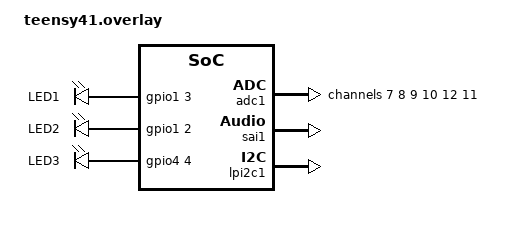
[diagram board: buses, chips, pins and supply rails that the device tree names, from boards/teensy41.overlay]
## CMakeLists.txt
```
# SPDX-License-Identifier: Apache-2.0

cmake_minimum_required(VERSION 3.20.0)

# Enable console on USB
if(NOT cdc-acm-console IN_LIST SNIPPET)
  set(SNIPPET cdc-acm-console ${SNIPPET} CACHE STRING "" FORCE)
endif()

set(BOARD teensy41)

find_package(Zephyr REQUIRED HINTS $ENV{ZEPHYR_BASE})
project(eurorack-dsp)

target_sources(app PRIVATE
  src/main.c
  src/analog_in.c
  src/audio.c
  src/biquad.c
  src/dsp.c
  src/leds.c
)
```

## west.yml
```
# Setup file for West, Zephyr RTOS's management tool.
# We usa a "T2" topology, i.e. this repo is the manifest repo pulling in Zephyr
manifest:
  remotes:
    - name: zephyrproject-rtos
      url-base: https://github.com/zephyrproject-rtos
  projects:
    - name: zephyr
      remote: zephyrproject-rtos
      revision: v4.3.0
      import: true
  self:
    path: eurorack-dsp
```

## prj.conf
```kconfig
CONFIG_LOG=y
CONFIG_LOG_DEFAULT_LEVEL=3
CONFIG_LOG_PROCESS_THREAD_STARTUP_DELAY_MS=3000
CONFIG_LOG_PROCESS_THREAD_SLEEP_MS=10
CONFIG_LOG_BUFFER_SIZE=8192
CONFIG_CBPRINTF_FP_SUPPORT=y

CONFIG_GPIO=y
CONFIG_USB_DEVICE_INITIALIZE_AT_BOOT=y
CONFIG_USBD_LOG_LEVEL_OFF=y

CONFIG_ADC=y

CONFIG_I2S=y
CONFIG_AUDIO=y
CONFIG_AUDIO_DMIC=y
CONFIG_AUDIO_CODEC=y

CONFIG_DMA_TCD_QUEUE_SIZE=4

CONFIG_I2C=y
```

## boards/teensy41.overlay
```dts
/ {
    aliases {
		i2s-codec-tx = &sai1;
		i2s-codec-rx = &sai1;
		i2c-codec = &lpi2c1;
		led1 = &led1;
		led2 = &led2;
		led3 = &led3;
		adc0 = &adc1;
	};

	leds {
		compatible = "gpio-leds";

		led1: led1 {
			gpios = <&gpio1 3 GPIO_ACTIVE_HIGH>; // teensy 0 GPIO_AD_B0_03
			label = "LED1";
		};
		led2: led2 {
			gpios = <&gpio1 2 GPIO_ACTIVE_HIGH>; // teensy 1 GPIO_AD_B0_02
			label = "LED2";
		};
		led3: led3 {
			gpios = <&gpio4 4 GPIO_ACTIVE_HIGH>; // teensy 2 GPIO_EMC_05
			label = "LED3";
		};
	};
};

// nxp_rt1060

// Found in mimxrt1060_evk-pinctrl.dtsi
&pinctrl {
	pinmux_adc1: pinmux_adc1 {
		group0 {
			/* ADC1 IN7 on Teensy pin 14 "A0" = AD_B1_02 */
			/* ADC1 IN8 on Teensy pin 15 "A1" = AD_B1_03 */
			/* ADC1 IN12 on Teensy pin 16 "A2" = AD_B1_07 */
			/* ADC1 IN11 on Teensy pin 17 "A3" = AD_B1_06 */
			/* ADC1 IN9 on Teensy pin 40 "A16" = AD_B1_04 */
			/* ADC1 IN10 on Teensy pin 41 "A17" = AD_B1_05 */
			pinmux = <&iomuxc_gpio_ad_b1_02_adc1_in7>,
				<&iomuxc_gpio_ad_b1_03_adc1_in8>,
				<&iomuxc_gpio_ad_b1_07_adc1_in12>,
				<&iomuxc_gpio_ad_b1_06_adc1_in11>,
				<&iomuxc_gpio_ad_b1_04_adc1_in9>,
				<&iomuxc_gpio_ad_b1_05_adc1_in10>;
			bias-disable;
			drive-strength = "r0-6";
			slew-rate = "slow";
			nxp,speed = "100-mhz";
		};
	};

	pinmux_sai1: pinmux_sai1 {
		group0 {
			pinmux = <&iomuxc_gpio_ad_b1_09_sai1_mclk>,  // teensy 23
				 <&iomuxc_gpio_b1_01_sai1_tx_data0>, // teensy 7
				 <&iomuxc_gpio_b1_00_sai1_rx_data0>, // teensy 8
				 <&iomuxc_gpio_ad_b1_11_sai1_rx_bclk>, // teensy 21
				 <&iomuxc_gpio_ad_b1_10_sai1_rx_sync>; // teensy 20 (LRCLK)
			drive-strength = "r0-6";
			slew-rate = "slow";
			nxp,speed = "100-mhz";
		};
	};
};

&adc1 {
	status = "okay";
	pinctrl-0 = <&pinmux_adc1>;
	pinctrl-names = "default";
	#address-cells = <1>;
	#size-cells = <0>;

	channel@7 {
		reg = <7>;
		zephyr,gain = "ADC_GAIN_1";
		zephyr,reference = "ADC_REF_INTERNAL";
		zephyr,acquisition-time = <ADC_ACQ_TIME_DEFAULT>;
		zephyr,resolution = <12>;
	};

	channel@8 {
		reg = <8>;
		zephyr,gain = "ADC_GAIN_1";
		zephyr,reference = "ADC_REF_INTERNAL";
		zephyr,acquisition-time = <ADC_ACQ_TIME_DEFAULT>;
		zephyr,resolution = <12>;
	};

	channel@9 {
		reg = <9>;
		zephyr,gain = "ADC_GAIN_1";
		zephyr,reference = "ADC_REF_INTERNAL";
		zephyr,acquisition-time = <ADC_ACQ_TIME_DEFAULT>;
		zephyr,resolution = <12>;
	};

	channel@10 {
		reg = <10>;
		zephyr,gain = "ADC_GAIN_1";
		zephyr,reference = "ADC_REF_INTERNAL";
		zephyr,acquisition-time = <ADC_ACQ_TIME_DEFAULT>;
		zephyr,resolution = <12>;
	};

	channel@12 {
		reg = <12>;
		zephyr,gain = "ADC_GAIN_1";
		zephyr,reference = "ADC_REF_INTERNAL";
		zephyr,acquisition-time = <ADC_ACQ_TIME_DEFAULT>;
		zephyr,resolution = <12>;
	};

	channel@11 {
		reg = <11>;
		zephyr,gain = "ADC_GAIN_1";
		zephyr,reference = "ADC_REF_INTERNAL";
		zephyr,acquisition-time = <ADC_ACQ_TIME_DEFAULT>;
		zephyr,resolution = <12>;
	};
};

// Found in mimxrt1060_evk-pinctrl.dtsi
&sai1 {
	status = "okay";
	pinctrl-0 = <&pinmux_sai1>;
	pinctrl-names = "default";

	mclk-output;
	// We use receiver pins for outputting BCLK and LRCLK so the transmitter
	// must be configured to sync to the receiver.
	nxp,tx-sync-mode;
};

&lpi2c1 {
	status = "okay";
	//pinctrl-0 = <&pinmux_lpi2c1>;
	//pinctrl-names = "default";
};
```

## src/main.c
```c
#include <stdio.h>
#include <zephyr/kernel.h>
#include <zephyr/logging/log.h>
LOG_MODULE_REGISTER(main);

#include "analog_in.h"
#include "audio.h"
#include "dsp.h"
#include "leds.h"

#define CHECK(x) if (!(x)) { printf("FAILED AT LINE %s:%d\n", __FILE__, __LINE__); return 1; }

static const int thread_prio_audio = 0;
static const int thread_prio_analog_in = 1;

static struct k_thread audio_thread;
static K_THREAD_STACK_DEFINE(audio_stack, 8192);
static struct k_thread analog_in_thread;
static K_THREAD_STACK_DEFINE(analog_in_stack, 8192);

static void audio_thread_entry(void *dsp_fn, void*, void*) { audio_run(dsp_fn); }
static void analog_in_thread_entry(void*, void*, void*) { analog_in_run(); }

int main(void)
{
	// Wait for USB console to connect
	k_msleep(4000);
	LOG_INF("Hello there!\n");

	CHECK(leds_init() == 0);
	CHECK(analog_in_init() == 0);
	CHECK(audio_init() == 0);

	CHECK(k_thread_create(
		&audio_thread,
		audio_stack,
		K_THREAD_STACK_SIZEOF(audio_stack),
		audio_thread_entry,
		dsp_do,
		NULL,
		NULL,
		thread_prio_audio,
		0,
		K_NO_WAIT
	));

	CHECK(k_thread_create(
		&analog_in_thread,
		analog_in_stack,
		K_THREAD_STACK_SIZEOF(analog_in_stack),
		analog_in_thread_entry,
		NULL,
		NULL,
		NULL,
		thread_prio_analog_in,
		0,
		K_NO_WAIT
	));

	while (1) {
		led_set(0, true);
		k_msleep(100);
		led_set(0, false);
		k_msleep(200);
	}
	return 0;
}
```

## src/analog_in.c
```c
#include <zephyr/drivers/adc.h>
#include <zephyr/kernel.h>
#include <zephyr/logging/log.h>
LOG_MODULE_REGISTER(analog_in);

#include "analog_in.h"
#include "leds.h"

#define ADC_NODE DT_ALIAS(adc0)
static const struct device *adc = DEVICE_DT_GET(ADC_NODE);

/* Data of ADC io-channels specified in devicetree. */
static const struct adc_channel_cfg adc_channels[] = {
	DT_FOREACH_CHILD_SEP(ADC_NODE, ADC_CHANNEL_CFG_DT, (,))};

#define CHANNEL_COUNT ARRAY_SIZE(adc_channels)

static uint16_t buf[CHANNEL_COUNT];
struct adc_sequence sequence = {
    .buffer = buf,
    .buffer_size = sizeof(buf),
    .resolution = 12,
    .oversampling = 5,
};

static const int channel_order[CHANNEL_COUNT] = {3, 2, 5, 4, 0, 1};

/* Store floating point values for use by other modules.
 * We expect 32-bit floats to be written/read atomically
 * without any special sauce beyond "volatile". */
static volatile float values[CHANNEL_COUNT];

int analog_in_init(void)
{
	for (size_t i = 0U; i < CHANNEL_COUNT; i++) {
        sequence.channels |= BIT(adc_channels[i].channel_id);
		int err = adc_channel_setup(adc, &adc_channels[i]);
		if (err < 0) {
			printk("Could not setup channel #%d (%d)\n", i, err);
			return 1;
		}
	}

    return 0;
}

void analog_in_run(void)
{
    while (1) {
		int err = adc_read(adc, &sequence);
		if (err < 0) {
			printk("Could not read (%d)\n", err);
		}
        for (int i = 0; i < CHANNEL_COUNT; i++) {
            // Convert 12-bit to 0..1
            values[channel_order[i]] = (float)buf[i] / 0x1000;
        }
	}
}

float analog_in_get(int n)
{
    return values[n];
}
```

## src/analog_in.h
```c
#pragma once

int analog_in_init(void);
void analog_in_run(void);
float analog_in_get(int n);
```

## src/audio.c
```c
#include "audio.h"
#include <zephyr/kernel.h>
#include <zephyr/drivers/i2s.h>
#include <zephyr/drivers/i2c.h>
#include <zephyr/logging/log.h>
LOG_MODULE_REGISTER(audio);

#define BYTES_PER_SAMPLE sizeof(sample_t)
#define SAMPLES_PER_BLOCK (FRAMES_PER_BLOCK * 2)
#define BLOCK_SIZE  (BYTES_PER_SAMPLE * SAMPLES_PER_BLOCK)
#define BLOCK_COUNT 16
K_MEM_SLAB_DEFINE_IN_SECT_STATIC(mem_slab, __nocache, BLOCK_SIZE, BLOCK_COUNT, 4);

static const struct device *const i2s_dev_rx = DEVICE_DT_GET(DT_ALIAS(i2s_codec_rx));
static const struct device *const i2s_dev_tx = DEVICE_DT_GET(DT_ALIAS(i2s_codec_tx));

#define I2C_ADDR 0x0a

/**
 * Configure NXP SGTL5000 codec
 */
static int config_codec(void)
{
	const struct device *const i2c_dev = DEVICE_DT_GET(DT_ALIAS(i2c_codec));
	int ret;

	if (!device_is_ready(i2c_dev)) {
		printk("%s is not ready\n", i2c_dev->name);
		return false;
	}

	uint16_t value = 0;
	uint16_t reg_addr = 0;
	ret = i2c_write_read(i2c_dev, I2C_ADDR, &reg_addr, 2, &value, 2);
	if (ret != 0) {
		LOG_ERR("Codec config failure on line %d", __LINE__);
		return 1;
	}
	LOG_INF("SGTL5000 chip id = %x", (unsigned)value);

	/*
	 * Values to program in registers.
	 * Mostly based on control_sgtl5000 from Teensy Audio lib.
	 * The Teensy audio adapter board is straight forward:
	 *   VDDD 1.8V supplied by an LDO
	 *   VDDIO 3.3V from Teensy
	 *   VDDA 3.3V from Teensy
	 */
	static const uint16_t incantations[][2] = {
		{ 0x0030, 0x4260 }, // CHIP_ANA_POWER: external 1.8V VDDD
		{ 0x0030, 0x4a60 }, // CHIP_ANA_POWER: enable charge pump
		{ 0x0026, 0x006c }, // CHIP_LINREG_CTRL: VDDA and VDDIO >3.1V
		{ 0x0028, 0x01f2 }, // CHIP_REF_CTRL: Bandgap reference settings
		{ 0x002c, 0x0f22 }, // CHIP_LINE_OUT_CTRL
		{ 0x003c, 0x4446 }, // CHIP_SHORT_CTRL: headphone short detector
		{ 0x0024, 0x0133 }, // CHIP_ANA_CTRL
		{ 0x0030, 0x6aff }, // CHIP_ANA_POWER: power it up
		{ 0x0002, 0x0073 }, // CHIP_DIG_POWER: power it up
		{ 0x002e, 0x0f0f }, // CHIP_LINE_OUT_VOL 2.8Vpp
		{ 0x0004, 0x0008 }, // CHIP_CLK_CTRL: 48 kHz 256*Fs
		{ 0x0006, 0x0030 }, // CHIP_I2S_CTRL: 16 bit
		{ 0x0022, 0x1818 }, // CHIP_ANA_HP_CTRL: volume low
		{ 0x0024, 0x0026 }, // CHIP_ANA_CTRL: unmute headphones, line, adc
		{ 0x0010, 0x3c3c }, // CHIP_DAC_VOL: DAC gain 0dB (default)
		{ 0x000e, 0x0002 }, // CHIP_ADCDAC_CTRL: unmute DACs, freeze HP filter to remove whining noise
	};

	for (int i = 0; i < ARRAY_SIZE(incantations); i++) {
		uint8_t data[4] = {
			incantations[i][0] >> 8,
			incantations[i][0] & 0xff,
			incantations[i][1] >> 8,
			incantations[i][1] & 0xff,
		};
		ret = i2c_write(i2c_dev, data, sizeof(data), I2C_ADDR);
		if (ret != 0) {
			LOG_ERR("Codec config failure on line %d", __LINE__);
			return 1;
		}
	}

	return 0;
}

int audio_init(void)
{
	int ret;
    
	ret = config_codec();
	if (ret != 0) {
		LOG_ERR("Codec config failure");
		return 1;
	}

	if (!device_is_ready(i2s_dev_rx)) {
		LOG_ERR("%s is not ready\n", i2s_dev_rx->name);
		return 1;
	}

	if (!device_is_ready(i2s_dev_tx)) {
		LOG_ERR("%s is not ready\n", i2s_dev_tx->name);
		return 1;
	}

	// Use the receiver bit clock and frame sync:
	//   configure rx for async operation
	//   configure tx for sync operation
	static const struct i2s_config config = {
        .word_size = 16,
		.channels = 2,
		.format = I2S_FMT_DATA_FORMAT_I2S,
		.options = I2S_OPT_BIT_CLK_MASTER | I2S_OPT_FRAME_CLK_MASTER,
		.frame_clk_freq = SAMPLE_RATE,
		.mem_slab = &mem_slab,
		.block_size = BLOCK_SIZE,
		.timeout = 2000,
    };
	ret = i2s_configure(i2s_dev_rx, I2S_DIR_RX, &config);
	if (ret < 0) {
		LOG_ERR("Failed to configure rx stream: %d\n", ret);
		return false;
	}
	ret = i2s_configure(i2s_dev_tx, I2S_DIR_TX, &config);
	if (ret < 0) {
		LOG_ERR("Failed to configure tx stream: %d\n", ret);
		return false;
	}

	return 0;
}

int audio_run(void(*dsp_fn)(const frame_t * const in, frame_t *const out))
{
	int ret;

	LOG_INF("Starting I2S streaming");
	static frame_t out_data[FRAMES_PER_BLOCK];
	static frame_t in_data[FRAMES_PER_BLOCK];
	ret = i2s_buf_write(i2s_dev_tx, out_data, sizeof(out_data));
	if (ret < 0) {
		LOG_ERR("Failed to write data: %d\n", ret);
		return 1;
	}
	ret = i2s_buf_write(i2s_dev_tx, out_data, sizeof(out_data));
	if (ret < 0) {
		LOG_ERR("Failed to write data: %d\n", ret);
		return 1;
	}
	ret = i2s_buf_write(i2s_dev_tx, out_data, sizeof(out_data));
	if (ret < 0) {
		LOG_ERR("Failed to write data: %d\n", ret);
		return 1;
	}
	ret = i2s_buf_write(i2s_dev_tx, out_data, sizeof(out_data));
	if (ret < 0) {
		LOG_ERR("Failed to write data: %d\n", ret);
		return 1;
	}

	ret = i2s_trigger(i2s_dev_rx, I2S_DIR_RX, I2S_TRIGGER_START);
	if (ret < 0) {
		LOG_ERR("Failed to start rx: %d\n", ret);
		return 1;
	}
	ret = i2s_trigger(i2s_dev_tx, I2S_DIR_TX, I2S_TRIGGER_START);
	if (ret < 0) {
		LOG_ERR("Failed to start tx: %d\n", ret);
		return 1;
	}

	while (1) {
		size_t len = 0;
		// This is where we're blocking waiting for data
		ret = i2s_buf_read(i2s_dev_rx, in_data, &len);
		if (ret < 0 || len != sizeof(in_data)) {
			LOG_ERR("Failed to read data: %d\n", ret);
			break;
		}

		dsp_fn(in_data, out_data);

		ret = i2s_buf_write(i2s_dev_tx, out_data, sizeof(out_data));
		if (ret < 0) {
			LOG_ERR("Failed to write data: %d\n", ret);
			break;
		}
	}

	return 0;
}
```

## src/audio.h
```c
#pragma once
#include <stdint.h>

typedef int16_t sample_t;
#define FRAMES_PER_BLOCK 32
#define SAMPLE_RATE 48000

typedef struct {
    sample_t s[2];  // left & right channel
} frame_t;

int audio_init(void);
int audio_run(void(*dsp_fn)(const frame_t * const in, frame_t *const out));
```

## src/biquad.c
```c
#include "biquad.h"
#include <math.h>

/*
 * Some ideas from:
 * Cookbook formulae for audio EQ biquad filter coefficients
 * by Robert Bristow-Johnson  <rbj@audioimagination.com>
 * http://www.musicdsp.org/files/Audio-EQ-Cookbook.txt
 */
void bq_make_lowpass(bq_coeffs* c, float w0, float q)
{
    /* The cookbook says:
            b0 =  (1 - cos(w0))/2
            b1 =   1 - cos(w0)
            b2 =  (1 - cos(w0))/2
            a0 =   1 + alpha
            a1 =  -2*cos(w0)
            a2 =   1 - alpha
     */

    const float alpha = sinf(w0)/(2.0f*q);
    const float a0 = 1.0f + alpha;
    const float a0inv = 1.0f / a0;
    const float cosw0 = cosf(w0);
    c->a1 = -2.0f * cosw0 * a0inv;
    c->a2 = (1.0f - alpha) * a0inv;
    c->b1 = (1.0f - cosw0) * a0inv;
    c->b0 = c->b1 * 0.5f;
    c->b2 = c->b0;
}

void bq_make_bandpass(bq_coeffs* c, float w0, float q)
{
    /* The cookbook says:
            b0 =   sin(w0)/2  =   Q*alpha
            b1 =   0
            b2 =  -sin(w0)/2  =  -Q*alpha
            a0 =   1 + alpha
            a1 =  -2*cos(w0)
            a2 =   1 - alpha
     */

    const float alpha = sinf(w0)/(2.0f*q);
    const float a0 = 1.0f + alpha;
    const float a0inv = 1.0f / a0;
    const float cosw0 = cosf(w0);
    c->a1 = -2.0f * cosw0 * a0inv;
    c->a2 = (1.0f - alpha) * a0inv;
    c->b0 = q * alpha * a0inv;
    c->b1 = 0;
    c->b2 = -c->b0;
}

static inline float bq_core(const bq_coeffs* c, const float in, float X[2], float Y[2])
{
    const float y = c->b0*in +
        c->b1*X[0] + c->b2*X[1] -
        c->a1*Y[0] - c->a2*Y[1];
    X[1] = X[0];
    X[0] = in;
    Y[1] = Y[0];
    Y[0] = y;
    return y;
}

void bq_process(
    const float* restrict in,
    float* restrict out,
    size_t count,
    const bq_coeffs* c,
    bq_state* state
)
{
    for (size_t s = 0; s < count; s++) {
        out[s] = bq_core(c, in[s], state->X, state->Y);
    }
}

void bq_process_smooth(
    const float* restrict in,
    float* restrict out,
    size_t count,
    bq_state* state
)
{
    for (size_t s = 0; s < count; s++) {
        out[s] = bq_core(&state->coeffs, in[s], state->X, state->Y);
    }
}
```

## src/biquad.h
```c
#pragma once
#include <stddef.h>

/**
 * Biquad coefficients for
 *
 *          b0 + b1*z^-1 + b2*z^-2
 *  H(z) = ------------------------
 *          a0 + a1*z^-1 + a2*z^-2
 *
 *  Where a0 has been normalized to 1.
 */
typedef struct {
    float a1, a2; // poles
    float b0, b1, b2; // zeros
} bq_coeffs;

/**
 * State for a biquad stage.
 */
typedef struct {
    bq_coeffs coeffs;
    bq_coeffs prev_coeffs;
    float X[2];
    float Y[2];
} bq_state;

/**
 * Create a second-order resonant lowpass filter
 *
 * @param w0 Cutoff/resonance frequency in radians
 * @param q Resonance
 */
void bq_make_lowpass(bq_coeffs* c, float w0, float q);

/**
 * Create a second-order bandpass filter
 *
 * @param w0 Centre frequency in radians
 * @param q Bandwidth/resonance figure
 */
void bq_make_bandpass(bq_coeffs* c, float w0, float q);

/**
 * Run a biquad filter
 */
void bq_process(
    const float* restrict in,
    float* restrict out,
    size_t count,
    const bq_coeffs* c,
    bq_state* state
);

/**
 * Run a biquad filter, fading between new and old coefficients.
 * This makes the output glitch-free then changing cutoff frequency and
 * avoids the internal state blowing up in weird ways.
 */
void bq_process_smooth(
    const float* restrict in,
    float* restrict out,
    size_t count,
    bq_state* state
);
```

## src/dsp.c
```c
#include <stdint.h>
#include <math.h>
#include <zephyr/logging/log.h>
LOG_MODULE_REGISTER(dsp);

#include "dsp.h"
#include "analog_in.h"
#include "biquad.h"
#include "perftimer.h"
#include "utils.h"
#include "leds.h"

typedef float float_block_t[FRAMES_PER_BLOCK];

static int min_in[2];
static int max_in[2];
static bq_state filter_state[2];
static quick_filter_state trigger_filter;
static float vol_envelope = 0.0f;
static float lp_envelope = 0.0f;
static float long_term_energy = 0.0f;

static inline float volume(float a)
{
	return a*a;
}

static void _dsp_do(const frame_t * const restrict in, frame_t * const restrict out)
{
	const float pot[] = {
		analog_in_get(0),
		analog_in_get(1),
		analog_in_get(2),
		analog_in_get(3),
	};
	const float cv[] = {
		CLAMP(analog_in_get(4) * 2.41f, 0.0f, 1.0f),  // Normalize to 1.0 at 5V (0.415 ADC)
		CLAMP(analog_in_get(5) * 2.41f, 0.0f, 1.0f),  // Normalize to 1.0 at 5V (0.415 ADC)
	};

	const float vol_sustime = sqrt(sqrt(pot[2]));
	const float lp_sustime = sqrt(sqrt(CLAMP(pot[2] + RAMP(pot[1], -0.2f, 0.2f), 0.0f, 1.0f)));
	const float q_factor = RAMP(pot[3], 0.1f, 10.0f);
	float_block_t samples[2];
	float_block_t buf[2];

	// Around 10ms of the rising trigger
	const float trigger_pulse = CLAMP(RAMP(pot[0], 0.2f, 2.0f) * q_highpass(&trigger_filter, RAMP(pot[0], 0.05f, 0.2f), cv[0]), 0.0f, 1.0f);

	// Lasts a couple of seconds
	long_term_energy += 0.1f * trigger_pulse;
	long_term_energy *= 0.998f;
	long_term_energy = CLAMP(long_term_energy, 0.0f, 1.2f);

	vol_envelope += 0.8f * trigger_pulse * CLAMP(long_term_energy, 0.5f, 1.0f);
	vol_envelope *= RAMP(vol_sustime, 0.8f, 0.99999f);
	vol_envelope = CLAMP(vol_envelope, 0.0f, 1.0f);

	lp_envelope += 0.6f * trigger_pulse * CLAMP(long_term_energy, 0.5f, 1.0f);
	lp_envelope *= RAMP(lp_sustime, 0.8f, 0.99999f);
	lp_envelope = CLAMP(lp_envelope, 0.0f, 1.0f);

	const float cutoff_hz = RAMP(lp_envelope, 20.0f, NYQUIST * 0.95f);

	for (int i = 0; i < FRAMES_PER_BLOCK; i++) {
		min_in[0] = min(min_in[0], in[i].s[0]);
		max_in[0] = max(max_in[0], in[i].s[0]);
		min_in[1] = min(min_in[1], in[i].s[1]);
		max_in[1] = max(max_in[1], in[i].s[1]);

		samples[0][i] = vol_envelope * in[i].s[0];
		samples[1][i] = vol_envelope * in[i].s[1];
	}
	led_set(1, will_clip(samples[0], FRAMES_PER_BLOCK) || will_clip(samples[1], FRAMES_PER_BLOCK));

	bq_make_lowpass(&filter_state[0].coeffs, HZ2OMEGA(cutoff_hz), q_factor);
	filter_state[1].coeffs = filter_state[0].coeffs;

	bq_process_smooth(samples[0], buf[0], FRAMES_PER_BLOCK, &filter_state[0]);
	bq_process_smooth(samples[1], buf[1], FRAMES_PER_BLOCK, &filter_state[1]);
	led_set(3, will_clip(buf[0], FRAMES_PER_BLOCK) || will_clip(buf[1], FRAMES_PER_BLOCK));

	for (int i = 0; i < FRAMES_PER_BLOCK; i++) {
		out[i].s[0] = float_to_i16(buf[0][i]);
		out[i].s[1] = float_to_i16(buf[1][i]);
	}
}

void dsp_do(const frame_t * const restrict in, frame_t * const restrict out)
{
	static perftimer_t pt;
	perftimer_start(&pt);
	_dsp_do(in, out);
	perftimer_end(&pt);

	if (pt.calls == 1000) {
		perftimer_report("dsp", pt);
		pt = (perftimer_t){};
		LOG_INF("Analog in: %4d %4d %4d %4d %4d %4d",
			(int)(analog_in_get(0) * 1000),
			(int)(analog_in_get(1) * 1000),
			(int)(analog_in_get(2) * 1000),
			(int)(analog_in_get(3) * 1000),
			(int)(analog_in_get(4) * 1000),
			(int)(analog_in_get(5) * 1000)
		);
		LOG_INF("Input range: %d-%d, %d-%d", min_in[0], max_in[0], min_in[1], max_in[1]);
		min_in[0] = 0;
		min_in[1] = 0;
		max_in[0] = 0;
		max_in[1] = 0;
		LOG_INF("Filter L: %.2f %.2f %.2f %.2f", (double)filter_state[0].X[0], (double)filter_state[0].X[1], (double)filter_state[0].Y[0], (double)filter_state[0].Y[1]);
		LOG_INF("Filter R: %.2f %.2f %.2f %.2f", (double)filter_state[1].X[0], (double)filter_state[1].X[1], (double)filter_state[1].Y[0], (double)filter_state[1].Y[1]);
	}
}
```

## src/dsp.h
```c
#pragma once
#include "audio.h"

void dsp_do(const frame_t *const in, frame_t * const out);
```

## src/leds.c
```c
#include <zephyr/kernel.h>
#include <zephyr/drivers/gpio.h>

#include "leds.h"

#define CHECK(x) if (!(x)) { printf("FAILED AT LINE %s:%d\n", __FILE__, __LINE__); return 1; }

static const struct gpio_dt_spec leds[] = {
    GPIO_DT_SPEC_GET(DT_ALIAS(led0), gpios),
    GPIO_DT_SPEC_GET(DT_ALIAS(led1), gpios),
    GPIO_DT_SPEC_GET(DT_ALIAS(led2), gpios),
    GPIO_DT_SPEC_GET(DT_ALIAS(led3), gpios),
};

int leds_init(void)
{
    for (int i = 0; i < ARRAY_SIZE(leds); i++) {
    	CHECK(gpio_is_ready_dt(&leds[i]));
	    CHECK(gpio_pin_configure_dt(&leds[i], GPIO_OUTPUT_ACTIVE) == 0);
    }
    return 0;
}

void led_set(int n, bool value)
{
    (void)gpio_pin_set_dt(&leds[n], value);
}
```

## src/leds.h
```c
#pragma once
#include <stdbool.h>

int leds_init(void);
void led_set(int n, bool value);
```

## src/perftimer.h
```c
#pragma once
#include <zephyr/sys/clock.h>
#include <time.h>

typedef struct 
{
    int calls;
    uint64_t running_cyc;
    uint64_t off_cyc;
    uint64_t worst_cyc;
    uint64_t start_cyc;
    uint64_t end_cyc;
} perftimer_t;

static inline void perftimer_start(perftimer_t *pt)
{
    const uint64_t now = k_cycle_get_64();
    pt->start_cyc = now;
    if (pt->end_cyc != 0) {
        pt->off_cyc += now - pt->end_cyc;
    }
}

static inline void perftimer_end(perftimer_t *pt)
{
    // FIXME: Handle overflow
    const uint64_t now = k_cycle_get_64();
    pt->end_cyc = now;
    const uint64_t cyc = now - pt->start_cyc;
    pt->running_cyc += cyc;
    if (cyc > pt->worst_cyc) {
        pt->worst_cyc = cyc;
    }
    pt->calls++;
}

static inline void perftimer_report(const char *name, perftimer_t pt)
{
    int duty_pct = (100 * pt.running_cyc) / pt.off_cyc;
    LOG_INF("Timer %s: %d calls, avg %llu cycles, worst %llu cycles, duty: %d%%",
        name, pt.calls, pt.running_cyc / pt.calls, pt.worst_cyc, duty_pct);
}
```

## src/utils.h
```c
#pragma once
#include <stdint.h>
#include <stdbool.h>

#define NYQUIST (SAMPLE_RATE / 2)

/**
 * Convert a frequency to radians for making filters
 */
#define HZ2OMEGA(f) ((f) * (3.1415926f / NYQUIST))

// Use definition in zephyr/sys/util.h
//#define CLAMP(v, min, max) (v) > (max) ? (max) : ((v) < (min) ? (min) : (v))
#define RAMP(v, start, end) ((end) * (v) + (start * (1.0f-(v))))

static inline int16_t float_to_i16(float v)
{
    return CLAMP(v, INT16_MIN, INT16_MAX);
}

static inline float saturate_tube(float _x)
{
    // Clippy, tube-like distortion
    // References : Posted by Partice Tarrabia and Bram de Jong
    const float depth = 0.5;
    const float k = 2.0f * depth / (1.0f - depth);
    const float b = INT16_MAX;
    const float x = _x / b;
    const float ret = b * (1 + k) * x / (1 + k * fabsf(x));
    if (ret < INT16_MIN) return INT16_MIN;
    if (ret > INT16_MAX) return INT16_MAX;
    return ret;
}

// Return true if one of the samples is beyond int16 range
static inline bool will_clip(const float *v, size_t count)
{
    for (size_t s = 0; s < count; s++) {
        if (v[s] <= INT16_MIN || v[s] >= INT16_MAX) {
            return true;
        }
    }
    return false;
}

typedef struct {
    float last_value;
} slope_state;

// Change value by at most slope_limit
static inline float slope_limit(slope_state *state, float slope_limit, float value)
{
    const float delta = value - state->last_value;
    if (delta > slope_limit) {
        state->last_value += slope_limit;
    } else if (-delta > slope_limit) {
        state->last_value -= slope_limit;
    }
    else {
        state->last_value = value;
    }
    return state->last_value;
}

typedef struct {
    float v;
} quick_filter_state;

static inline float q_lowpass(quick_filter_state *state, float factor, float value)
{
    state->v = factor * value + (1.0f - factor) * state->v;
    return state->v;
}

static inline float q_highpass(quick_filter_state *state, float factor, float value)
{
    state->v = factor * value + (1.0f - factor) * state->v;
    return value - state->v;
}
```
